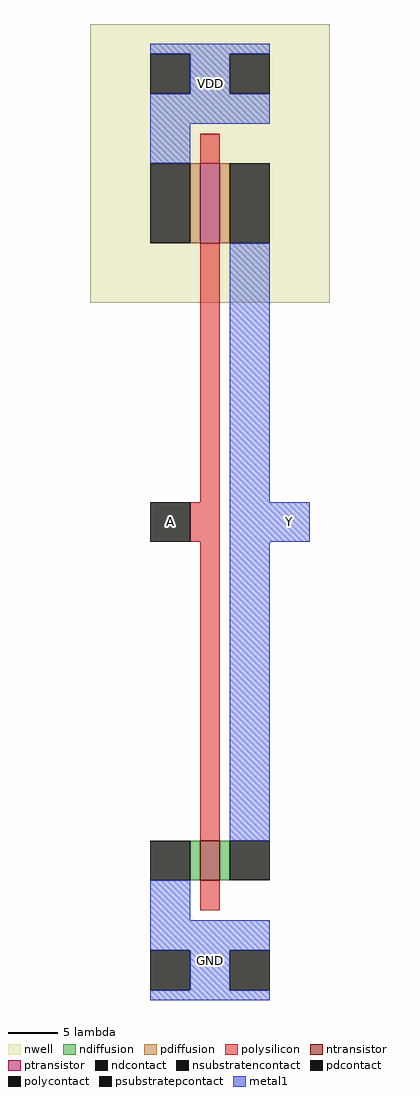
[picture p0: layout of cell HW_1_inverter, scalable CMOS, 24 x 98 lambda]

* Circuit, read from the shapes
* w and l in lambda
.subckt HW_1_inverter A GND VDD Y
M1 Y A GND GND nfet w=4 l=2
M2 Y A VDD VDD pfet w=8 l=2
.ends

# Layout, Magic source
magic
tech scmos
<< nwell >>
rect -15 22 9 50
<< ntransistor >>
rect -4 -36 -2 -32
<< ptransistor >>
rect -4 28 -2 36
<< ndiffusion >>
rect -5 -36 -4 -32
rect -2 -36 -1 -32
<< pdiffusion >>
rect -5 28 -4 36
rect -2 28 -1 36
<< ndcontact >>
rect -9 -36 -5 -32
rect -1 -36 3 -32
<< pdcontact >>
rect -9 28 -5 36
rect -1 28 3 36
<< psubstratepcontact >>
rect -9 -47 -5 -43
rect -1 -47 3 -43
<< nsubstratencontact >>
rect -9 43 -5 47
rect -1 43 3 47
<< polysilicon >>
rect -4 36 -2 39
rect -4 2 -2 28
rect -5 -2 -2 2
rect -4 -32 -2 -2
rect -4 -39 -2 -36
<< polycontact >>
rect -9 -2 -5 2
<< metal1 >>
rect -9 47 3 48
rect -5 43 -1 47
rect -9 40 3 43
rect -9 36 -5 40
rect -1 2 3 28
rect -1 -2 7 2
rect -1 -32 3 -2
rect -9 -40 -5 -36
rect -9 -43 3 -40
rect -5 -47 -1 -43
rect -9 -48 3 -47
<< labels >>
rlabel metal1 -9 -48 3 -40 1 GND
rlabel metal1 3 -2 7 2 7 Y
rlabel polycontact -9 -2 -5 2 1 A
rlabel nwell -9 40 3 48 1 VDD
<< end >>
